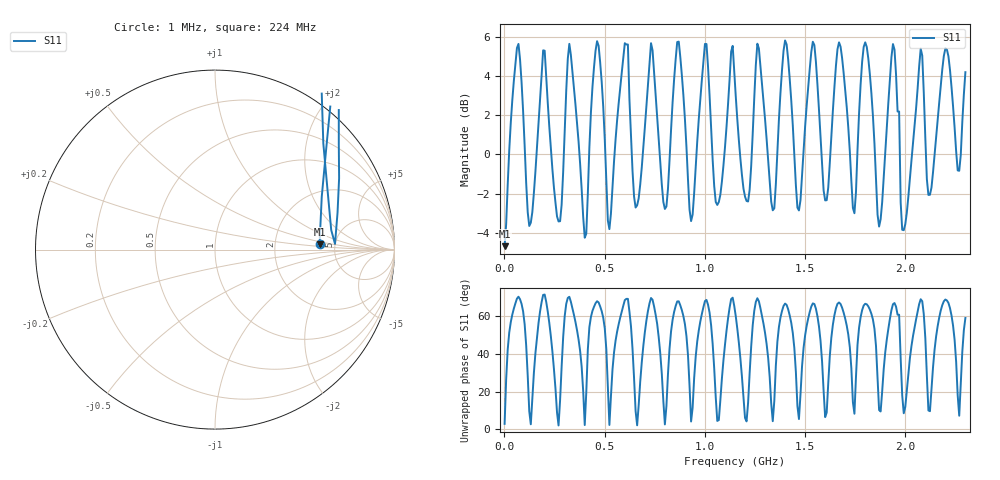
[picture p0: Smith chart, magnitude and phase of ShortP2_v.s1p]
# Hz S RI R 50.000000
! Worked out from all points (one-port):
!   300 points, 1 MHz to 2.3 GHz, reference 50 ohm
!   lowest |S11| = -4.7 dB at 1 MHz (marker M1), VSWR 3.80, Z = 188 + j17.1 ohm
!   |S11| at or under -10 dB: nowhere
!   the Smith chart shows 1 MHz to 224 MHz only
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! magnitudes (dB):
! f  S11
! 1 MHz  -4.7
! 70.2 MHz  5.6
! 124 MHz  -3.7
! 193.2 MHz  5.3
! 293.2 MHz  -0.9
! 323.9 MHz  5.6
! 408.5 MHz  -4.0
! 462.3 MHz  5.8
! 523.8 MHz  -3.8
! 577.7 MHz  3.4
! 662.3 MHz  -2.6
! 731.5 MHz  5.7
! 800.7 MHz  -2.8
! 869.9 MHz  5.8
! 931.4 MHz  -3.4
! 1.001 GHz  5.6
! 1.062 GHz  -2.6
! 1.154 GHz  3.0
! 1.439 GHz  1.5
! 1.546 GHz  5.6
! 1.608 GHz  -2.3
! 1.67 GHz  5.7
! 1.731 GHz  -1.4
! 1.8 GHz  5.7
! 1.869 GHz  -3.7
! 1.939 GHz  5.6
! 2.016 GHz  -2.1
! 2.3 GHz  4.2
